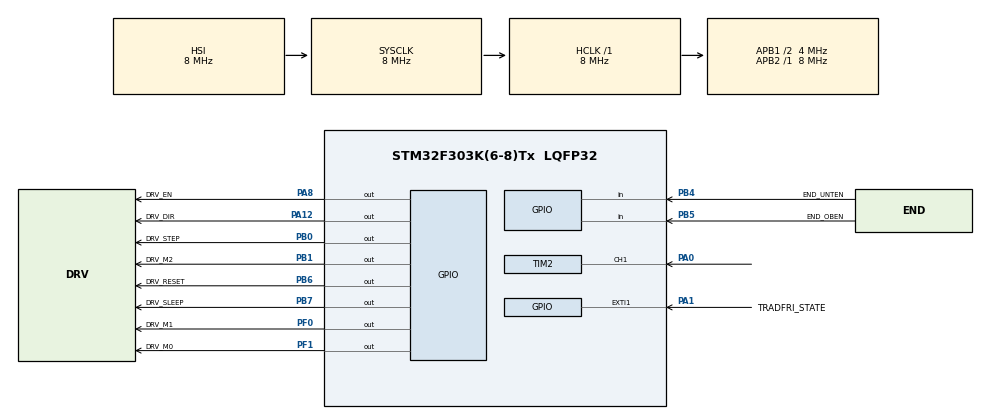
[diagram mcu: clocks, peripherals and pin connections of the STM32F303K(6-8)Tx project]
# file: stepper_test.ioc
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Mcu.Family=STM32F3
Mcu.Name=STM32F303K(6-8)Tx
Mcu.Package=LQFP32
NVIC.PriorityGroup=NVIC_PRIORITYGROUP_4
NVIC.TIM2_IRQn=true\:0\:0\:false\:false\:true\:true\:true
NVIC.TIM3_IRQn=true\:0\:0\:false\:false\:true\:true\:true
PA0.Signal=S_TIM2_CH1_ETR
PA1.GPIO_Label=TRADFRI_STATE
PA1.GPIO_ModeDefaultEXTI=GPIO_MODE_IT_RISING_FALLING
PA1.Signal=GPXTI1
PA12.GPIO_Label=DRV_DIR
PA12.Signal=GPIO_Output
PA8.GPIO_Label=DRV_EN
PA8.Signal=GPIO_Output
PB0.GPIO_Label=DRV_STEP
PB0.Signal=GPIO_Output
PB1.GPIO_Label=DRV_M2
PB1.Signal=GPIO_Output
PB4.GPIO_Label=END_UNTEN
PB4.GPIO_PuPd=GPIO_PULLUP
PB4.Signal=GPIO_Input
PB5.GPIO_Label=END_OBEN
PB5.GPIO_PuPd=GPIO_PULLUP
PB5.Signal=GPIO_Input
PB6.GPIO_Label=DRV_RESET
PB6.Signal=GPIO_Output
PB7.GPIO_Label=DRV_SLEEP
PB7.Signal=GPIO_Output
PF0\ /\ OSC_IN.GPIO_Label=DRV_M1
PF0\ /\ OSC_IN.Signal=GPIO_Output
PF1\ /\ OSC_OUT.GPIO_Label=DRV_M0
PF1\ /\ OSC_OUT.Signal=GPIO_Output
ProjectManager.HeapSize=0x200
ProjectManager.StackSize=0x400
ProjectManager.TargetToolchain=Makefile
RCC.AHBFreq_Value=8000000
RCC.APB1CLKDivider=RCC_HCLK_DIV2
RCC.APB1Freq_Value=4000000
RCC.APB1TimFreq_Value=8000000
RCC.APB2Freq_Value=8000000
RCC.APB2TimFreq_Value=8000000
RCC.CortexFreq_Value=8000000
RCC.HCLKFreq_Value=8000000
RCC.HSE_VALUE=8000000
RCC.HSI_VALUE=8000000
RCC.PLLMUL=RCC_PLL_MUL16
RCC.SYSCLKFreq_VALUE=8000000
SH.S_TIM2_CH1_ETR.0=TIM2_CH1,Input_Capture1_from_TI1
SH.S_TIM2_CH1_ETR.1=TIM2_CH1,Input_Capture2_from_TI1
SH.S_TIM2_CH1_ETR.2=TIM2_CH1,TriggerSource_TI1FP1
TIM2.Channel-Input_Capture1_from_TI1=TIM_CHANNEL_1
TIM2.Channel-Input_Capture2_from_TI1=TIM_CHANNEL_2
TIM2.Channel-Output\ Compare3\ No\ Output=TIM_CHANNEL_3
TIM2.ICFilter_CH1=0
TIM2.ICPolarity_CH1=TIM_INPUTCHANNELPOLARITY_RISING
TIM2.ICPolarity_CH2=TIM_INPUTCHANNELPOLARITY_FALLING
TIM2.OCMode_3=TIM_OCMODE_TIMING
TIM2.Period=2300
TIM2.Prescaler=5
TIM2.Pulse-Output\ Compare3\ No\ Output=2300
TIM3.AutoReloadPreload=TIM_AUTORELOAD_PRELOAD_ENABLE
TIM3.Period=1000
TIM3.Prescaler=15
VP_TIM2_VS_ClockSourceINT.Mode=Internal
VP_TIM2_VS_ControllerModeReset.Mode=Reset Mode
VP_TIM2_VS_no_output3.Mode=Output Compare3 No Output
VP_TIM3_VS_ClockSourceINT.Mode=Internal
board=custom

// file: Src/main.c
/* USER CODE BEGIN Header */
/**
  ******************************************************************************
  * @file           : main.c
  * @brief          : Main program body
  ******************************************************************************
  * @attention
  *
  * <h2><center>&copy; Copyright (c) 2019 STMicroelectronics.
  * All rights reserved.</center></h2>
  *
  * This software component is licensed by ST under BSD 3-Clause license,
  * the "License"; You may not use this file except in compliance with the
  * License. You may obtain a copy of the License at:
  *                        opensource.org/licenses/BSD-3-Clause
  *
  ******************************************************************************
  */
/* USER CODE END Header */

#include "main.h"

/* USER CODE BEGIN Includes */
#include "tradfri_decode.h"
#include "stepper_driver.h"
/* USER CODE END Includes */

TIM_HandleTypeDef htim2;
TIM_HandleTypeDef htim3;

/* USER CODE BEGIN PV */
tradfri_decoder_t tradfri_decoder;
stepper_driver_t stepper;
uint8_t skip_irq = 0;
/* USER CODE END PV */

void SystemClock_Config(void);
static void MX_GPIO_Init(void);
static void MX_TIM2_Init(void);
static void MX_TIM3_Init(void);

/* USER CODE BEGIN 0 */

void HAL_TIM_IC_CaptureCallback(TIM_HandleTypeDef *htim) {
    if (htim == &htim2) {
        tradfri_capture_callback(&tradfri_decoder, &htim2);
    }
}

void HAL_TIM_PeriodElapsedCallback(TIM_HandleTypeDef *htim) {
    if (htim == &htim3) {
      stepper_time_update(&stepper);
    }
}

void HAL_TIM_OC_DelayElapsedCallback(TIM_HandleTypeDef *htim) {
  if (htim == &htim2) {
      tradfri_elapsed_callback(&tradfri_decoder, &htim2);
  }
}

void HAL_GPIO_EXTI_Callback(uint16_t GPIO_Pin) {
  if (GPIO_Pin == TRADFRI_STATE_Pin) {
    if (!skip_irq) {
      HAL_NVIC_DisableIRQ(EXTI1_IRQn);
    }
  }
}

void tradfri_value_callback(uint16_t value) {
  stepper_drive_target(&stepper, value);
}
// extern void initialise_monitor_handles(void);
/* USER CODE END 0 */

int main(void)
{

  /* MCU Configuration--------------------------------------------------------*/

  /* Reset of all peripherals, Initializes the Flash interface and the Systick. */
  HAL_Init();

  /* Configure the system clock */
  SystemClock_Config();

  /* Initialize all configured peripherals */
  MX_GPIO_Init();
  MX_TIM2_Init();
  MX_TIM3_Init();
  /* USER CODE BEGIN 2 */
    // initialise_monitor_handles();
    tradfri_decoder.new_value_callback = tradfri_value_callback;
    tradfri_init(&tradfri_decoder, &htim2, TIMER2_CLOCK);
    HAL_TIM_IC_Start_IT(&htim2, TIM_CHANNEL_1);
    HAL_TIM_IC_Start_IT(&htim2, TIM_CHANNEL_2);
    HAL_TIM_OC_Start_IT(&htim2, TIM_CHANNEL_3);
    HAL_TIM_Base_Start_IT(&htim2);
    stepper_init(&stepper, &htim3, TIMER3_CLOCK);
  /* USER CODE END 2 */

  /* Infinite loop */
  /* USER CODE BEGIN WHILE */
  while (1)
  {
    if (stepper.mode != MODE_STOPPED || !tradfri_can_sleep(&tradfri_decoder)) {
      HAL_PWR_EnterSLEEPMode(PWR_MAINREGULATOR_ON, PWR_SLEEPENTRY_WFE);
    }
    else {
      HAL_NVIC_SetPriority(EXTI1_IRQn, 0, 0);
      skip_irq = 1;
      HAL_NVIC_EnableIRQ(EXTI1_IRQn);
      skip_irq = 0;

      HAL_SuspendTick();
      HAL_PWR_EnterSTOPMode(PWR_LOWPOWERREGULATOR_ON, PWR_STOPENTRY_WFI);
      HAL_ResumeTick();
    }
    /* USER CODE END WHILE */

  }
}

void SystemClock_Config(void)
{
  RCC_OscInitTypeDef RCC_OscInitStruct = {0};
  RCC_ClkInitTypeDef RCC_ClkInitStruct = {0};

  /** Initializes the CPU, AHB and APB busses clocks
  */
  RCC_OscInitStruct.OscillatorType = RCC_OSCILLATORTYPE_HSI;
  RCC_OscInitStruct.HSIState = RCC_HSI_ON;
  RCC_OscInitStruct.HSICalibrationValue = RCC_HSICALIBRATION_DEFAULT;
  RCC_OscInitStruct.PLL.PLLState = RCC_PLL_NONE;
  if (HAL_RCC_OscConfig(&RCC_OscInitStruct) != HAL_OK)
  {
    Error_Handler();
  }
  /** Initializes the CPU, AHB and APB busses clocks
  */
  RCC_ClkInitStruct.ClockType = RCC_CLOCKTYPE_HCLK|RCC_CLOCKTYPE_SYSCLK
                              |RCC_CLOCKTYPE_PCLK1|RCC_CLOCKTYPE_PCLK2;
  RCC_ClkInitStruct.SYSCLKSource = RCC_SYSCLKSOURCE_HSI;
  RCC_ClkInitStruct.AHBCLKDivider = RCC_SYSCLK_DIV1;
  RCC_ClkInitStruct.APB1CLKDivider = RCC_HCLK_DIV2;
  RCC_ClkInitStruct.APB2CLKDivider = RCC_HCLK_DIV1;

  if (HAL_RCC_ClockConfig(&RCC_ClkInitStruct, FLASH_LATENCY_0) != HAL_OK)
  {
    Error_Handler();
  }
}

static void MX_TIM2_Init(void)
{

  TIM_ClockConfigTypeDef sClockSourceConfig = {0};
  TIM_SlaveConfigTypeDef sSlaveConfig = {0};
  TIM_MasterConfigTypeDef sMasterConfig = {0};
  TIM_IC_InitTypeDef sConfigIC = {0};
  TIM_OC_InitTypeDef sConfigOC = {0};

  htim2.Instance = TIM2;
  htim2.Init.Prescaler = 5;
  htim2.Init.CounterMode = TIM_COUNTERMODE_UP;
  htim2.Init.Period = 2300;
  htim2.Init.ClockDivision = TIM_CLOCKDIVISION_DIV1;
  htim2.Init.AutoReloadPreload = TIM_AUTORELOAD_PRELOAD_DISABLE;
  if (HAL_TIM_Base_Init(&htim2) != HAL_OK)
  {
    Error_Handler();
  }
  sClockSourceConfig.ClockSource = TIM_CLOCKSOURCE_INTERNAL;
  if (HAL_TIM_ConfigClockSource(&htim2, &sClockSourceConfig) != HAL_OK)
  {
    Error_Handler();
  }
  if (HAL_TIM_IC_Init(&htim2) != HAL_OK)
  {
    Error_Handler();
  }
  if (HAL_TIM_OC_Init(&htim2) != HAL_OK)
  {
    Error_Handler();
  }
  sSlaveConfig.SlaveMode = TIM_SLAVEMODE_RESET;
  sSlaveConfig.InputTrigger = TIM_TS_TI1FP1;
  sSlaveConfig.TriggerPolarity = TIM_INPUTCHANNELPOLARITY_RISING;
  sSlaveConfig.TriggerFilter = 0;
  if (HAL_TIM_SlaveConfigSynchronization(&htim2, &sSlaveConfig) != HAL_OK)
  {
    Error_Handler();
  }
  sMasterConfig.MasterOutputTrigger = TIM_TRGO_RESET;
  sMasterConfig.MasterSlaveMode = TIM_MASTERSLAVEMODE_DISABLE;
  if (HAL_TIMEx_MasterConfigSynchronization(&htim2, &sMasterConfig) != HAL_OK)
  {
    Error_Handler();
  }
  sConfigIC.ICPolarity = TIM_INPUTCHANNELPOLARITY_RISING;
  sConfigIC.ICSelection = TIM_ICSELECTION_DIRECTTI;
  sConfigIC.ICPrescaler = TIM_ICPSC_DIV1;
  sConfigIC.ICFilter = 0;
  if (HAL_TIM_IC_ConfigChannel(&htim2, &sConfigIC, TIM_CHANNEL_1) != HAL_OK)
  {
    Error_Handler();
  }
  sConfigIC.ICPolarity = TIM_INPUTCHANNELPOLARITY_FALLING;
  sConfigIC.ICSelection = TIM_ICSELECTION_INDIRECTTI;
  if (HAL_TIM_IC_ConfigChannel(&htim2, &sConfigIC, TIM_CHANNEL_2) != HAL_OK)
  {
    Error_Handler();
  }
  sConfigOC.OCMode = TIM_OCMODE_TIMING;
  sConfigOC.Pulse = 2300;
  sConfigOC.OCPolarity = TIM_OCPOLARITY_HIGH;
  sConfigOC.OCFastMode = TIM_OCFAST_DISABLE;
  if (HAL_TIM_OC_ConfigChannel(&htim2, &sConfigOC, TIM_CHANNEL_3) != HAL_OK)
  {
    Error_Handler();
  }

}

static void MX_TIM3_Init(void)
{

  TIM_ClockConfigTypeDef sClockSourceConfig = {0};
  TIM_MasterConfigTypeDef sMasterConfig = {0};

  htim3.Instance = TIM3;
  htim3.Init.Prescaler = 15;
  htim3.Init.CounterMode = TIM_COUNTERMODE_UP;
  htim3.Init.Period = 1000;
  htim3.Init.ClockDivision = TIM_CLOCKDIVISION_DIV1;
  htim3.Init.AutoReloadPreload = TIM_AUTORELOAD_PRELOAD_ENABLE;
  if (HAL_TIM_Base_Init(&htim3) != HAL_OK)
  {
    Error_Handler();
  }
  sClockSourceConfig.ClockSource = TIM_CLOCKSOURCE_INTERNAL;
  if (HAL_TIM_ConfigClockSource(&htim3, &sClockSourceConfig) != HAL_OK)
  {
    Error_Handler();
  }
  sMasterConfig.MasterOutputTrigger = TIM_TRGO_RESET;
  sMasterConfig.MasterSlaveMode = TIM_MASTERSLAVEMODE_DISABLE;
  if (HAL_TIMEx_MasterConfigSynchronization(&htim3, &sMasterConfig) != HAL_OK)
  {
    Error_Handler();
  }

}

static void MX_GPIO_Init(void)
{
  GPIO_InitTypeDef GPIO_InitStruct = {0};

  /* GPIO Ports Clock Enable */
  __HAL_RCC_GPIOF_CLK_ENABLE();
  __HAL_RCC_GPIOA_CLK_ENABLE();
  __HAL_RCC_GPIOB_CLK_ENABLE();

  /*Configure GPIO pin Output Level */
  HAL_GPIO_WritePin(GPIOF, DRV_M1_Pin|DRV_M0_Pin, GPIO_PIN_RESET);

  /*Configure GPIO pin Output Level */
  HAL_GPIO_WritePin(GPIOB, DRV_STEP_Pin|DRV_M2_Pin|DRV_RESET_Pin|DRV_SLEEP_Pin, GPIO_PIN_RESET);

  /*Configure GPIO pin Output Level */
  HAL_GPIO_WritePin(GPIOA, DRV_EN_Pin|DRV_DIR_Pin, GPIO_PIN_RESET);

  /*Configure GPIO pins : DRV_M1_Pin DRV_M0_Pin */
  GPIO_InitStruct.Pin = DRV_M1_Pin|DRV_M0_Pin;
  GPIO_InitStruct.Mode = GPIO_MODE_OUTPUT_PP;
  GPIO_InitStruct.Pull = GPIO_NOPULL;
  GPIO_InitStruct.Speed = GPIO_SPEED_FREQ_LOW;
  HAL_GPIO_Init(GPIOF, &GPIO_InitStruct);

  /*Configure GPIO pin : TRADFRI_STATE_Pin */
  GPIO_InitStruct.Pin = TRADFRI_STATE_Pin;
  GPIO_InitStruct.Mode = GPIO_MODE_IT_RISING_FALLING;
  GPIO_InitStruct.Pull = GPIO_NOPULL;
  HAL_GPIO_Init(TRADFRI_STATE_GPIO_Port, &GPIO_InitStruct);

  /*Configure GPIO pins : DRV_STEP_Pin DRV_M2_Pin DRV_RESET_Pin DRV_SLEEP_Pin */
  GPIO_InitStruct.Pin = DRV_STEP_Pin|DRV_M2_Pin|DRV_RESET_Pin|DRV_SLEEP_Pin;
  GPIO_InitStruct.Mode = GPIO_MODE_OUTPUT_PP;
  GPIO_InitStruct.Pull = GPIO_NOPULL;
  GPIO_InitStruct.Speed = GPIO_SPEED_FREQ_LOW;
  HAL_GPIO_Init(GPIOB, &GPIO_InitStruct);

  /*Configure GPIO pins : DRV_EN_Pin DRV_DIR_Pin */
  GPIO_InitStruct.Pin = DRV_EN_Pin|DRV_DIR_Pin;
  GPIO_InitStruct.Mode = GPIO_MODE_OUTPUT_PP;
  GPIO_InitStruct.Pull = GPIO_NOPULL;
  GPIO_InitStruct.Speed = GPIO_SPEED_FREQ_LOW;
  HAL_GPIO_Init(GPIOA, &GPIO_InitStruct);

  /*Configure GPIO pins : END_UNTEN_Pin END_OBEN_Pin */
  GPIO_InitStruct.Pin = END_UNTEN_Pin|END_OBEN_Pin;
  GPIO_InitStruct.Mode = GPIO_MODE_INPUT;
  GPIO_InitStruct.Pull = GPIO_PULLUP;
  HAL_GPIO_Init(GPIOB, &GPIO_InitStruct);

}

void Error_Handler(void)
{
}

/************************ (C) COPYRIGHT STMicroelectronics *****END OF FILE****/
